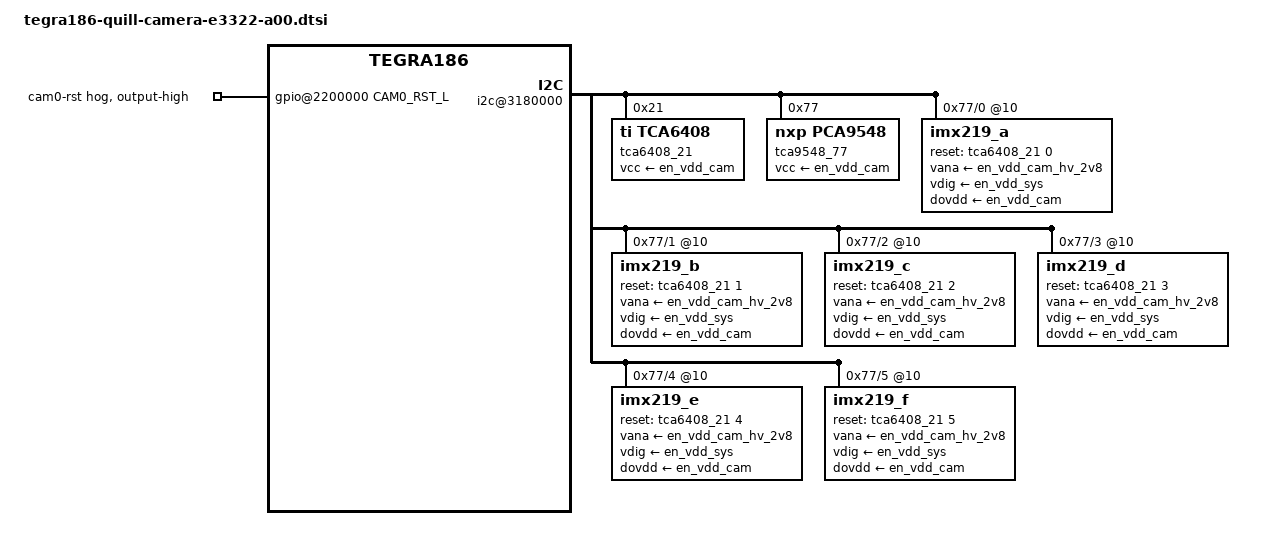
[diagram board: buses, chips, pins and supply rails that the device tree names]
/*
 * Copyright (c) 2015-2016, NVIDIA CORPORATION.  All rights reserved.
 *
 * This program is free software; you can redistribute it and/or modify
 * it under the terms of the GNU General Public License as published by
 * the Free Software Foundation; either version 2 of the License, or
 * (at your option) any later version.
 *
 * This program is distributed in the hope that it will be useful, but WITHOUT
 * ANY WARRANTY; without even the implied warranty of MERCHANTABILITY or
 * FITNESS FOR A PARTICULAR PURPOSE.  See the GNU General Public License for
 * more details.
 *
 * You should have received a copy of the GNU General Public License
 * along with this program.  If not, see <http://www.gnu.org/licenses/>.
 */
#include <t18x-common-modules/tegra186-camera-e3322-a00.dtsi>
#include "dt-bindings/clock/tegra186-clock.h"

#define CAM0_RST_L     TEGRA_MAIN_GPIO(R, 5)
#define CAMERA_I2C_MUX_BUS(x) (0x1E + x)

/* camera control gpio definitions */
/ {
	gpio@2200000 {
		camera-control-output-high {
			gpio-hog;
			output-high;
			gpios = <CAM0_RST_L 0>;
			label = "cam0-rst";
		};

		camera-control-output-low {
			status = "disabled";
		};

		camera-control-input {
			status = "disabled";
		};
	};

	i2c@3180000 {
		tca6408_21: tca6408@21 {
			compatible = "ti,tca6408";
			gpio-controller;
			#gpio-cells = <2>;
			reg = <0x21>;
			vcc-supply = <&en_vdd_cam>;
			tca6408_21_input {
				/*
				 * GPIO-6 : NC
				 * GPIO-7 : NC
				 */
				gpio-hog;
				input;
				gpios = <6 0 7 0>;
				label = "tca6408_21_input_6",
					 "tca6408_21_input_7";
			};
			tca6408_21_outlow {
				/*
				 * GPIO-0 : XCLR_CAM1
				 * GPIO-1 : XCLR_CAM2
				 * GPIO-2 : XCLR_CAM3
				 * GPIO-3 : XCLR_CAM4
				 * GPIO-4 : XCLR_CAM5
				 * GPIO-5 : XCLR_CAM6
				 */
				gpio-hog;
				output-low;
				gpios = <0 0 1 0 2 0 3 0 4 0 5 0>;
				label = "tca6408_21_outlow_0",
					"tca6408_21_outlow_1",
					"tca6408_21_outlow_2",
					"tca6408_21_outlow_3",
					"tca6408_21_outlow_4",
					"tca6408_21_outlow_5";
			};
			tca6408_21_outhigh {
				status = "disabled";
			};
		};

		tca9548_77: tca9548@77 {
			compatible = "nxp,pca9548";
			reg = <0x77>;
			#address-cells = <1>;
			#size-cells = <0>;
			vcc-supply = <&en_vdd_cam>;
			skip_mux_detect;
			force_bus_start = <CAMERA_I2C_MUX_BUS(0)>;
			i2c@0 {
				reg = <0>;
				i2c-mux,deselect-on-exit;
				#address-cells = <1>;
				#size-cells = <0>;
			};
			i2c@1 {
				reg = <1>;
				i2c-mux,deselect-on-exit;
				#address-cells = <1>;
				#size-cells = <0>;
			};
			i2c@2 {
				reg = <2>;
				i2c-mux,deselect-on-exit;
				#address-cells = <1>;
				#size-cells = <0>;
			};
			i2c@3 {
				reg = <3>;
				i2c-mux,deselect-on-exit;
				#address-cells = <1>;
				#size-cells = <0>;
			};
			i2c@4 {
				reg = <4>;
				i2c-mux,deselect-on-exit;
				#address-cells = <1>;
				#size-cells = <0>;
			};
			i2c@5 {
				reg = <5>;
				i2c-mux,deselect-on-exit;
				#address-cells = <1>;
				#size-cells = <0>;
			};
		};
	};
};

/* camera control gpio definitions */
/ {
	i2c@3180000 {
		tca9548@77 {
			i2c@0 {
				imx219_a@10 {
					clocks = <&tegra_car TEGRA186_CLK_EXTPERIPH1>;
					clock-names = "extperiph1";
					mclk = "extperiph1";
					reset-gpios = <&tca6408_21 0 GPIO_ACTIVE_HIGH>;
					vana-supply = <&en_vdd_cam_hv_2v8>;
					vdig-supply = <&en_vdd_sys>;
					dovdd-supply = <&en_vdd_cam>;
				};
			};
			i2c@1 {
				imx219_b@10 {
					clocks = <&tegra_car TEGRA186_CLK_EXTPERIPH1>;
					clock-names = "extperiph1";
					mclk = "extperiph1";
					reset-gpios = <&tca6408_21 1 GPIO_ACTIVE_HIGH>;
					vana-supply = <&en_vdd_cam_hv_2v8>;
					vdig-supply = <&en_vdd_sys>;
					dovdd-supply = <&en_vdd_cam>;
				};
			};
			i2c@2 {
				imx219_c@10 {
					clocks = <&tegra_car TEGRA186_CLK_EXTPERIPH1>;
					clock-names = "extperiph1";
					mclk = "extperiph1";
					reset-gpios = <&tca6408_21 2 GPIO_ACTIVE_HIGH>;
					vana-supply = <&en_vdd_cam_hv_2v8>;
					vdig-supply = <&en_vdd_sys>;
					dovdd-supply = <&en_vdd_cam>;
				};
			};
			i2c@3 {
				imx219_d@10 {
					clocks = <&tegra_car TEGRA186_CLK_EXTPERIPH2>;
					clock-names = "extperiph2";
					mclk = "extperiph2";
					reset-gpios = <&tca6408_21 3 GPIO_ACTIVE_HIGH>;
					vana-supply = <&en_vdd_cam_hv_2v8>;
					vdig-supply = <&en_vdd_sys>;
					dovdd-supply = <&en_vdd_cam>;
				};
			};
			i2c@4 {
				imx219_e@10 {
					clocks = <&tegra_car TEGRA186_CLK_EXTPERIPH2>;
					clock-names = "extperiph2";
					mclk = "extperiph2";
					reset-gpios = <&tca6408_21 4 GPIO_ACTIVE_HIGH>;
					vana-supply = <&en_vdd_cam_hv_2v8>;
					vdig-supply = <&en_vdd_sys>;
					dovdd-supply = <&en_vdd_cam>;
				};
			};
			i2c@5 {
				imx219_f@10 {
					clocks = <&tegra_car TEGRA186_CLK_EXTPERIPH2>;
					clock-names = "extperiph2";
					mclk = "extperiph2";
					reset-gpios = <&tca6408_21 5 GPIO_ACTIVE_HIGH>;
					vana-supply = <&en_vdd_cam_hv_2v8>;
					vdig-supply = <&en_vdd_sys>;
					dovdd-supply = <&en_vdd_cam>;
				};
			};
		};
	};
};

